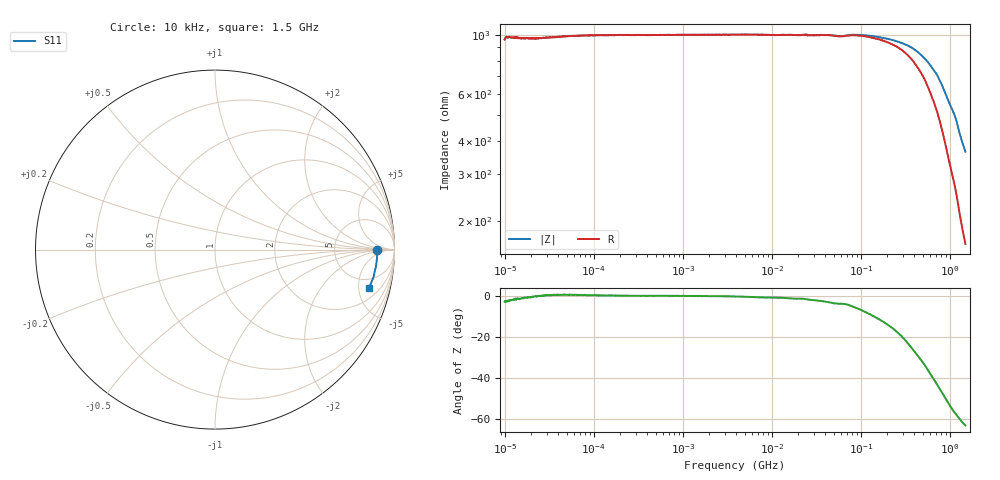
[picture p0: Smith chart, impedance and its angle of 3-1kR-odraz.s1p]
#  HZ  S  DB  R  50.00
! Rohde & Schwarz Vector Network Analyzer
! Rohde-Schwarz,ZNB8-4Port,1334333044101560,3.32
! Created: UTC 3/21/2023, 5:11:47 PM
! freq[Hz]  db:S11  ang:S11
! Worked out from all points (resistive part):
!   1001 points, 10 kHz to 1.5 GHz, reference 50 ohm
!   read as one part to ground: R = 980 ohm at 10.61 kHz
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10000  -0.90 -0.3
11000.41  -0.89 -0.3
21959.48  -0.90 -0.0
44362.03  -0.88 0.1
196799  -0.87 0.0
873040.2  -0.87 0.0
3872983  -0.87 -0.0
1.718134e7  -0.87 -0.1
2.314511e7  -0.87 -0.1
5.934314e7  -0.88 -0.4
7.621991e7  -0.87 -0.5
1.184633e8  -0.87 -0.8
1.885608e8  -0.87 -1.4
2.601392e8  -0.88 -1.9
3.38127e8  -0.88 -2.5
4.447643e8  -0.88 -3.3
5.318281e8  -0.89 -4.0
6.590843e8  -0.89 -5.0
7.164297e8  -0.89 -5.5
7.695381e8  -0.90 -6.0
8.167904e8  -0.91 -6.5
8.878575e8  -0.92 -7.2
1.074387e9  -0.94 -9.1
1.126847e9  -0.94 -9.6
1.21038e9  -0.97 -10.5
1.413223e9  -1.04 -13.1
1.464668e9  -1.05 -13.7
1.5e9  -1.06 -14.1
